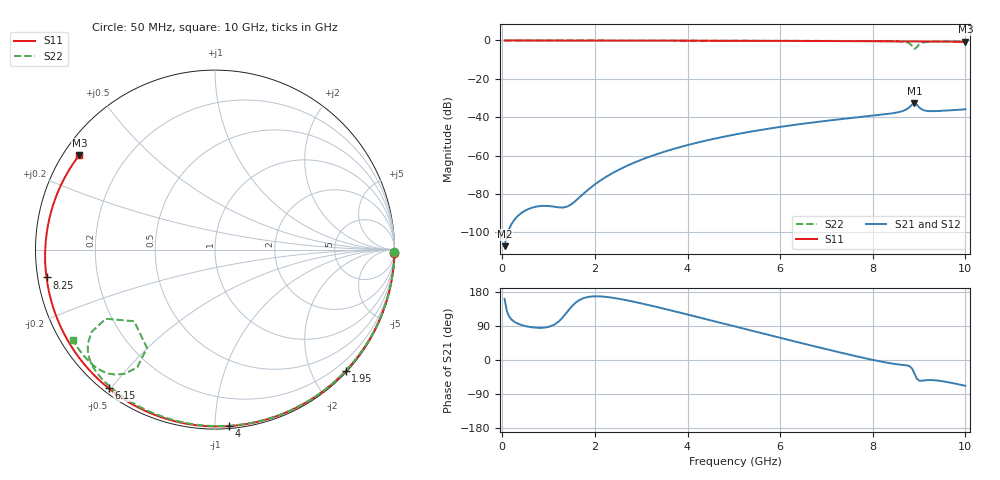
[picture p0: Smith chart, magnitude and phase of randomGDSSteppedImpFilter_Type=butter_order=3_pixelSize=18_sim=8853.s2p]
! freq	dB(S11)	phase(S11)	dB(S12)	phase(S12)
!  dB(S21)	phase(S21)	dB(S22)	phase(S22)
!S-par simulation data
#  GHz  S  DB  R 50
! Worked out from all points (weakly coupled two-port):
!   200 points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, 50 MHz to 10 GHz, reference 50 ohm
!   highest |S21| = -32.72 dB at 8.9 GHz (marker M1); lowest = -107.2 dB at 50 MHz (marker M2)
!   lowest |S11| = -0.7 dB at 10 GHz (marker M3), VSWR 24.51, Z = 2.24 + j15.7 ohm
!   |S11| at or under -10 dB: nowhere
!   |S22| runs from -4.4 to 0.0 dB; largest |S21 - S12| = 0
!   S11 on the Smith chart (normalised r, x): 50 MHz: open; 1.95 GHz: 0.02, -2.54; 4 GHz: 0.01, -1.08; 6.15 GHz: 0.02, -0.49; 8.25 GHz: 0.03, -0.08; 10 GHz: 0.04, +0.31
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0.05  -0.00 -1.1  -107.17 161.0  -107.17 161.0  -0.00 -0.9
0.85  -0.02 -19.0  -86.22 84.9  -86.22 84.9  -0.02 -14.7
1.75  -0.05 -38.6  -79.92 163.0  -79.92 163.0  -0.04 -29.9
1.95  -0.05 -43.0  -75.89 167.8  -75.89 167.8  -0.04 -33.3
2.6  -0.07 -56.7  -66.36 159.7  -66.36 159.7  -0.06 -44.0
3.4  -0.10 -73.3  -58.73 138.0  -58.73 138.0  -0.08 -56.9
4  -0.12 -85.4  -54.51 120.1  -54.51 120.1  -0.09 -66.3
5.05  -0.16 -106.1  -48.88 87.7  -48.88 87.7  -0.13 -82.2
6.15  -0.23 -127.5  -44.51 54.0  -44.51 54.0  -0.18 -98.2
6.7  -0.27 -138.3  -42.74 37.4  -42.74 37.4  -0.21 -106.0
7.5  -0.35 -154.5  -40.49 14.0  -40.49 14.0  -0.26 -117.4
8.25  -0.43 -170.6  -38.52 -5.9  -38.52 -5.9  -0.36 -129.1
8.35  -0.44 -172.9  -38.21 -8.1  -38.21 -8.1  -0.38 -130.9
8.6  -0.47 -178.5  -37.10 -12.3  -37.10 -12.3  -0.55 -136.9
8.75  -0.50 177.9  -35.55 -14.4  -35.55 -14.4  -1.06 -143.3
8.85  -0.51 175.6  -33.42 -23.1  -33.42 -23.1  -2.85 -147.7
8.9  -0.52 174.4  -32.72 -35.7  -32.72 -35.7  -4.41 -138.5
8.95  -0.52 173.1  -33.45 -48.7  -33.45 -48.7  -3.53 -124.7
9  -0.53 171.9  -34.79 -54.3  -34.79 -54.3  -2.10 -123.4
9.1  -0.55 169.4  -36.34 -54.2  -36.34 -54.2  -1.02 -128.4
9.4  -0.60 161.8  -36.75 -54.2  -36.75 -54.2  -0.57 -137.3
10  -0.71 145.1  -35.90 -68.1  -35.90 -68.1  -0.55 -147.5
